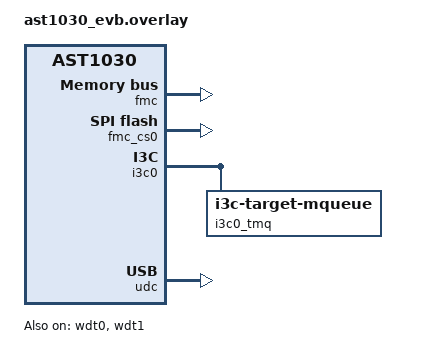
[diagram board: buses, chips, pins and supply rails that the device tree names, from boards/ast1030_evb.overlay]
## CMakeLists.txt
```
# Copyright (c) 2026 ASPEED Technology Inc.
# SPDX-License-Identifier: MIT

cmake_minimum_required(VERSION 3.20.0)

find_package(Zephyr REQUIRED HINTS $ENV{ZEPHYR_BASE})

project(mctp_eval)

target_sources(app PRIVATE src/main.c)
target_sources_ifdef(CONFIG_MCTP_EVAL_PLDM app PRIVATE src/pldm.c)
target_sources_ifdef(CONFIG_MCTP_EVAL_SPDM_BRIDGE app PRIVATE src/spdm_bridge.c)
```

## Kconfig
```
# Copyright (c) 2026 ASPEED Technology Inc.
# SPDX-License-Identifier: MIT

menu "MCTP eval"

config MCTP_EVAL_LOCAL_EID
	int "Local MCTP endpoint ID"
	range 0 254
	default 0
	help
	  EID the endpoint starts with. 0 (the null EID) leaves it unassigned
	  until the bus owner sets one with the Set Endpoint ID control
	  command. Otherwise 8..254: DSP0236 reserves 1-7, and the build
	  rejects them.

config MCTP_EVAL_USB
	bool "MCTP over USB endpoint"
	depends on MCTP_USB
	default y
	help
	  Also expose the endpoint over USB (DSP0283) on zephyr_udc0, with its
	  own libmctp instance.

if MCTP_EVAL_USB

config MCTP_EVAL_USB_VID
	hex "USB vendor ID"
	default 0x2fe3
	help
	  0x2fe3 is the Zephyr project's VID, for development and testing only.

config MCTP_EVAL_USB_PID
	hex "USB product ID"
	default 0x0100

endif # MCTP_EVAL_USB

endmenu

source "Kconfig.zephyr"
```

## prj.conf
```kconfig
# SYSTEM
# USB receive runs on the system workqueue: the binding's parser, libmctp, the
# app's rx callback and the reply's transmit, nested (1024 bytes was 82% used)
CONFIG_SYSTEM_WORKQUEUE_STACK_SIZE=2048
# i3c-target-mqueue and the I3C DMA receive pool allocate from the system heap;
# libmctp has its own heap (CONFIG_MCTP_HEAP_SIZE)
CONFIG_HEAP_MEM_POOL_SIZE=32768

# LOGGING
CONFIG_LOG=y
CONFIG_LOG_BUFFER_SIZE=8192

# SHELL
CONFIG_SHELL=y

# MCTP (libmctp); answers control requests such as Set Endpoint ID
CONFIG_MCTP=y
# Two libmctp instances (I3C, USB) share this heap
CONFIG_MCTP_HEAP_SIZE=8192
CONFIG_LIBMCTP_CONTROL_HANDLER_ENABLED=y

# PLDM (libpldm) control and firmware device responders
CONFIG_PLDM=y
CONFIG_PLDM_RESPONDER=y
```

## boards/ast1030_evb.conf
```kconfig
# I3C controller in target (secondary) mode
CONFIG_I3C=y
CONFIG_I3C_ASPEED=y
CONFIG_I3C_USE_IBI=y
CONFIG_I3C_IBI_WORKQUEUE=y

# I3C target message queue
CONFIG_I3C_TARGET=y
CONFIG_I3C_TARGET_MQUEUE=y
# i3c_target_mqueue uses crc8_ccitt() for the IBI PEC byte
CONFIG_CRC=y

# libmctp binding over the i3c0 target mqueue
CONFIG_MCTP_I3C_TARGET_MQUEUE=y

# USB device controller on the new USB device stack, for MCTP over USB.
# Builds udc_aspeed; the legacy usb_dc_aspeed driver is excluded by this.
CONFIG_USB_DEVICE_STACK_NEXT=y
# Warnings only: the info level logs every control transfer of enumeration
CONFIG_USBD_LOG_LEVEL_WRN=y
# UDC events off the system workqueue, where mctp_usb blocks on multi-packet tx
CONFIG_UDC_WORKQUEUE=y
CONFIG_UDC_WORKQUEUE_STACK_SIZE=1024
# libmctp binding for MCTP over USB (DSP0283)
CONFIG_MCTP_USB=y

# Boot SPI flash (fmc_cs0), where CONFIG_MCTP_EVAL_PLDM_FLASH programs updates
CONFIG_SPI=y
CONFIG_SPI_ASPEED=y
CONFIG_SPI_NOR=n
CONFIG_SPI_NOR_MULTI_DEV=y
CONFIG_FLASH=y
CONFIG_FLASH_PAGE_LAYOUT=y

# Reboot (shell "kernel reboot", sys_reboot()), a chip reset by watchdog wdt1;
# a cold reboot reloads the image from the boot flash
CONFIG_WATCHDOG=y
CONFIG_WDT_ASPEED=y
CONFIG_REBOOT=y
# PLDM updates go to the sink. The SoC boots fmc_cs0 offset 0 without
# authenticating it, so to program updates there and boot them, any MCTP peer
# being able to replace the firmware, set:
# CONFIG_MCTP_EVAL_PLDM_FLASH=y
# CONFIG_MCTP_EVAL_PLDM_REBOOT=y
```

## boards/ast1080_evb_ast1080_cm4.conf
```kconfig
# I3C controller in target (secondary) mode
CONFIG_I3C=y
CONFIG_I3C_USE_IBI=y
CONFIG_I3C_IBI_WORKQUEUE=y
CONFIG_I3C_MIPI_HCI=y
CONFIG_I3C_MIPI_HCI_PIO=y
CONFIG_I3C_MIPI_HCI_DMA=y
CONFIG_I3C_MIPI_HCI_TARGET=y
CONFIG_I3C_MIPI_HCI_ASPEED_VENDOR=y
# Target receive pool, 4-byte chunks: 1023 holds ~56 back-to-back 69-byte
# MCTP packets. The default 128 (512 bytes) overflows after ~8 packets of a
# multi-packet message at 12.5 MHz and corrupts them.
CONFIG_I3C_MIPI_HCI_DMA_IBI_CHUNKS=1023

# I3C target message queue
CONFIG_I3C_TARGET=y
CONFIG_I3C_TARGET_MQUEUE=y
# i3c_target_mqueue uses crc8_ccitt() for the IBI PEC byte
CONFIG_CRC=y

# libmctp binding over the i3c0 target mqueue
CONFIG_MCTP_I3C_TARGET_MQUEUE=y

# USB device controller (udc0) on the new USB device stack, for MCTP over USB.
# Builds udc_aspeed; the legacy usb_dc_aspeed driver is excluded by this.
CONFIG_USB_DEVICE_STACK_NEXT=y
# UDC events off the system workqueue, where mctp_usb blocks on multi-packet tx
CONFIG_UDC_WORKQUEUE=y
CONFIG_UDC_WORKQUEUE_STACK_SIZE=1024
# libmctp binding for MCTP over USB (DSP0283)
CONFIG_MCTP_USB=y
```

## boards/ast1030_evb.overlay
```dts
/*
 * Copyright (c) 2026 ASPEED Technology Inc.
 *
 * SPDX-License-Identifier: MIT
 *
 * AST1030 EVB: i3c0 as an MCTP-over-I3C target. The app finds the queue by
 * the i3c0_tmq label.
 */

&fmc {
	status = "okay";
};

/* Boot SPI flash: the image the SoC boots sits at offset 0 */
&fmc_cs0 {
	status = "okay";
	spi-max-buswidth = <4>;
	spi-max-frequency = <50000000>;

	partitions {
		compatible = "fixed-partitions";
		#address-cells = <1>;
		#size-cells = <1>;

		/*
		 * The 1 MiB flash in halves. The first is the board's
		 * zephyr,code-partition, which the SoC boots, and where PLDM
		 * firmware updates are programmed with
		 * CONFIG_MCTP_EVAL_PLDM_FLASH; an update downloads into the
		 * second and is copied into the first once it verifies. The
		 * image runs from SRAM, so it never outgrows its half.
		 */
		slot0_partition: pldm_update_partition: partition@0 {
			label = "image-0";
			reg = <0x0 0x80000>;
		};

		pldm_staging_partition: partition@80000 {
			label = "staging";
			reg = <0x80000 0x80000>;
		};
	};
};

/* sys_reboot() resets the chip through wdt1 */
&wdt0 {
	status = "okay";
};

&wdt1 {
	status = "okay";
};

&i3c0 {
	status = "okay";
	/* DSP0233: MCTP over I3C devices report DCR 0xCC */
	dcr = <0xcc>;
	secondary;

	/*
	 * The controller builds the PID itself: ASPEED MIPI ID 0x7ec, the SoC
	 * revision as part ID (0x8001 on A1) and the controller index as
	 * instance ID, so i3c0 reads 7ec80010000.
	 */
	i3c0_tmq: i3c-tmq@7ec80010000 {
		compatible = "i3c-target-mqueue";
		reg = <0x0 0x7ec 0x80010000>;
		/*
		 * Packets stay at the baseline 69 bytes (with PEC) unless
		 * CONFIG_MCTP_I3C_TMQ_LARGE_PACKETS lets them use all of this
		 */
		msg-size = <128>;
		/*
		 * Must be a power of two; one slot stays empty, so 32 holds 31
		 * packets: a whole CONFIG_MCTP_MAX_MESSAGE_SIZE (1024-byte)
		 * message in 64-byte-payload packets.
		 */
		num-of-msgs = <32>;
		mandatory-data-byte = <0xae>;
		/* MCTP pending-read IBI carries the MDB only; packet PEC is
		 * handled by the libmctp binding (CONFIG_MCTP_I3C_TMQ_PEC)
		 */
		ibi-append-pec = <0>;
		status = "okay";
	};
};

/*
 * USB device controller, for MCTP over USB on the new USB device stack
 * (udc_aspeed). The board labels it zephyr_udc0.
 */
&udc {
	status = "okay";
};
```

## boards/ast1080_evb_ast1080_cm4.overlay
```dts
/*
 * Copyright (c) 2026 ASPEED Technology Inc.
 *
 * SPDX-License-Identifier: MIT
 *
 * AST1080 EVB: i3c0 as an MCTP-over-I3C target. The app finds the queue by
 * the i3c0_tmq label.
 */

&i3c0 {
	status = "okay";
	/* DSP0233: MCTP over I3C devices report DCR 0xCC */
	dcr = <0xcc>;
	secondary;
	pid-extra-info = <0x000>;
	io-mode = "dma";

	i3c0_tmq: i3c-tmq@7ec80000000 {
		compatible = "i3c-target-mqueue";
		reg = <0x0 0x7ec 0x80000000>;
		/*
		 * Packets stay at the baseline 69 bytes (with PEC) unless
		 * CONFIG_MCTP_I3C_TMQ_LARGE_PACKETS lets them use all of this
		 */
		msg-size = <128>;
		/*
		 * Must be a power of two; one slot stays empty, so 32 holds 31
		 * packets: a whole CONFIG_MCTP_MAX_MESSAGE_SIZE (1024-byte)
		 * message in 64-byte-payload packets, even if the bus delivers it
		 * faster than the rx loop drains it.
		 */
		num-of-msgs = <32>;
		mandatory-data-byte = <0xae>;
		/* MCTP pending-read IBI carries the MDB only; packet PEC is
		 * handled by the libmctp binding (CONFIG_MCTP_I3C_TMQ_PEC)
		 */
		ibi-append-pec = <0>;
		status = "okay";
	};
};

/*
 * USB port C device controller, for MCTP over USB. Driven by the new USB
 * device stack (udc_aspeed); zephyr_udc0 is the label USB classes look up.
 */
zephyr_udc0: &udc0 {
	status = "okay";
};
```

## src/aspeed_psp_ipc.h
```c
/* Licensed under the Apache-2.0 license */

/*
 * PSP (Cortex-M4) <-> SS-MCU IPC protocol, for the PSP's C firmware.
 * Copy of caliptra-mcu-sw common/aspeed-ipc-protocol/include/aspeed_psp_ipc.h,
 * the C mirror of that crate's src/psp_spdm.rs, which holds the full
 * description of the descriptor and its rules.
 *
 * IPC bank 4 carries PSP -> SS-MCU, bank 5 SS-MCU -> PSP:
 *   IPI0: SPDM channel (REQUEST from the PSP, RESPONSE from the SS-MCU)
 *   IPI1: control (REQ_ACK and SYNC_ACK from the SS-MCU, RSP_ACK and SYNC
 *         from the PSP); each buffer has one owner, and an ACK hands it back
 *   IPI2: reserved for the callback channel, which needs a window of its own
 * Each IPI carries a 7-word descriptor; message bodies sit in a shared
 * window whose address each platform defines (on AST1080, the PSP's IPC
 * channel 0 window: requests in its TX half, responses in its RX half).
 */

#ifndef ASPEED_PSP_IPC_H_
#define ASPEED_PSP_IPC_H_

#define PSP_SPDM_IPI			0
#define PSP_SPDM_ACK_IPI		1
#define PSP_SPDM_CB_IPI			2

#define PSP_SPDM_SHM_SIZE		0x2000u
#define PSP_SPDM_REQ_OFFSET		0x0000u
#define PSP_SPDM_RSP_OFFSET		0x1000u
#define PSP_SPDM_BUF_SIZE		0x1000u

#define PSP_SPDM_MAX_MSG_SIZE		1024u

#define PSP_SPDM_OP_REQUEST		0x51445053u /* "SPDQ" */
#define PSP_SPDM_OP_RESPONSE		0x52445053u /* "SPDR" */
#define PSP_SPDM_OP_REQ_ACK		0x41445053u /* "SPDA" */
#define PSP_SPDM_OP_RSP_ACK		0x4b445053u /* "SPDK" */
#define PSP_SPDM_OP_SYNC		0x53445053u /* "SPDS" */
#define PSP_SPDM_OP_SYNC_ACK		0x59445053u /* "SPDY" */
#define PSP_SPDM_OP_CB_REQUEST		0x51435053u /* "SPCQ" */
#define PSP_SPDM_OP_CB_RESPONSE		0x52435053u /* "SPCR" */

#define PSP_SPDM_WORD_OP		0
#define PSP_SPDM_WORD_SEQ		1
#define PSP_SPDM_WORD_OFFSET		2
#define PSP_SPDM_WORD_LEN		3
#define PSP_SPDM_WORD_STATUS		4
#define PSP_SPDM_WORD_VERSION		5
#define PSP_SPDM_DESC_WORDS		7

#define PSP_SPDM_PROTO_VERSION		2u

#define PSP_SPDM_STATUS_OK		0u
#define PSP_SPDM_STATUS_REJECTED	1u
#define PSP_SPDM_STATUS_TOO_LARGE	2u
#define PSP_SPDM_STATUS_VERSION		3u

#endif /* ASPEED_PSP_IPC_H_ */
```

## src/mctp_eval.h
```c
/*
 * Copyright (c) 2026 ASPEED Technology Inc.
 *
 * SPDX-License-Identifier: MIT
 */

#ifndef MCTP_EVAL_H_
#define MCTP_EVAL_H_

#include <stdbool.h>
#include <stddef.h>
#include <stdint.h>
#include <zephyr/kernel.h>
#include <libmctp.h>

#define MCTP_MSG_TYPE_MASK	0x7f
#define MCTP_MSG_TYPE_PLDM	0x01

/*
 * One transport and its libmctp instance, NULL if the bus failed to start.
 * libmctp is not thread-safe: every call into a bus's mctp is made with its
 * lock held.
 */
struct eval_bus {
	const char *name;
	struct mctp *mctp;
	struct k_mutex *lock;
	/* The binding's count of packets it dropped, updated under lock */
	const uint32_t *tx_errors;
};

/* Next message tag for a request we originate */
uint8_t mctp_eval_next_tag(void);

#ifdef CONFIG_MCTP_EVAL_PLDM
int mctp_eval_pldm_init(void);
/* Advertise PLDM in the bus's Get Message Type Support response */
int mctp_eval_pldm_bus_init(struct eval_bus *bus);
/*
 * Called from the bus rx callback with the bus lock held; true if the
 * message was PLDM (and has been handled).
 */
bool mctp_eval_pldm_rx(struct eval_bus *bus, uint8_t src_eid, bool tag_owner, uint8_t msg_tag,
		       const uint8_t *msg, size_t len);
#endif

#endif /* MCTP_EVAL_H_ */
```

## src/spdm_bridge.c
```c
/*
 * Copyright (c) 2026 ASPEED Technology Inc.
 *
 * SPDX-License-Identifier: MIT
 *
 * SPDM bridge to the SSMCU: SPDM requests that arrive over MCTP on any bus
 * (message type 0x05, or 0x06 for SPDM Secured Messages; MCTP type byte
 * included) are forwarded to the SSMCU's SPDM responder over the PSP IPC
 * channel (aspeed_psp_ipc.h), and its response goes back on the bus, to the
 * EID and with the tag the request came with.
 *
 * The rx callback only queues a request (it runs with the bus lock held);
 * one thread forwards them one at a time, as the channel carries a single
 * request in flight. Bodies sit in the IPC driver's window for the SPDM IPI
 * (the board's shmem_ch0): the request is written to its TX half before the
 * doorbell rings, and the response read from its RX half after its doorbell.
 * The driver flushes what it writes; the RX half is cacheable on this core,
 * so the D-cache is invalidated over the response before it is read.
 *
 * Each half has one owner at a time (aspeed_psp_ipc.h): REQUEST hands the
 * request buffer to the SSMCU, which hands it back with REQ_ACK once it has
 * copied the request out, and a RESPONSE with a message hands the response
 * buffer over until RSP_ACK, sent once it is copied out here, or at once
 * for a late response. A SYNC starts the channel; a missing ACK or a
 * timeout marks it unsynced, and the next request SYNCs first, so a buffer
 * is never written while the other side may still read it.
 *
 * "spdm send" in the shell forwards a request typed in by hand, for testing
 * the SSMCU side without a requester; "spdm stats" shows the counters.
 */

#include <stdlib.h>
#include <string.h>
#include <zephyr/cache.h>
#include <zephyr/drivers/ipm.h>
#include <zephyr/drivers/ipm_ast.h>
#include <zephyr/kernel.h>
#include <zephyr/logging/log.h>
#include <zephyr/shell/shell.h>
#include <zephyr/sys/barrier.h>
#include <zephyr/sys/util.h>
#include "aspeed_psp_ipc.h"
#include "mctp_eval.h"

LOG_MODULE_REGISTER(mctp_eval_spdm, LOG_LEVEL_INF);

#define MCTP_MSG_TYPE_SPDM		0x05
#define MCTP_MSG_TYPE_SECURED_SPDM	0x06
#define SPDM_QUEUE_DEPTH		4
/* Descriptors the ISR can hold before the bridge thread reads them */
#define SPDM_EVT_QUEUE_DEPTH		8
#define SPDM_THREAD_STACK_SIZE		2048
#define SPDM_THREAD_PRIORITY		K_LOWEST_APPLICATION_THREAD_PRIO
#define SPDM_TIMEOUT			K_MSEC(CONFIG_MCTP_EVAL_SPDM_TIMEOUT_MS)
#define SPDM_ACK_TIMEOUT		K_MSEC(CONFIG_MCTP_EVAL_SPDM_ACK_TIMEOUT_MS)
#define SPDM_SYNC_TRIES			3
/* The SSMCU acknowledges a doorbell within its interrupt handler */
#define SPDM_SEND_RETRIES		10
#define SPDM_SHELL_MAX_LEN		64

/* The SSMCU expects the request buffer right before the response buffer */
BUILD_ASSERT(PSP_SPDM_RSP_OFFSET == PSP_SPDM_REQ_OFFSET + PSP_SPDM_BUF_SIZE);
BUILD_ASSERT(CONFIG_MCTP_MAX_MESSAGE_SIZE >= PSP_SPDM_MAX_MSG_SIZE,
	     "an SPDM response must fit one MCTP message");

static const struct device *const ipc = DEVICE_DT_GET(DT_NODELABEL(ipc0_cm4_ssmcu));

struct spdm_req {
	struct eval_bus *bus;
	uint8_t eid;
	uint8_t tag;
	uint16_t len;
	uint8_t msg[PSP_SPDM_MAX_MSG_SIZE];
};

K_MSGQ_DEFINE(spdm_queue, sizeof(struct spdm_req), SPDM_QUEUE_DEPTH, 4);

/* One request in flight on the channel, from the thread or the shell */
static K_MUTEX_DEFINE(forward_lock);
static uint32_t seq;
/* The SSMCU answered our last SYNC; forward_lock guards it */
static bool synced;
/*
 * Shell fault injection: act as if the SSMCU never answered the next request
 * (REQ_ACK and RESPONSE lost), or the next RSP_ACK were lost
 */
static bool lose_req_ack, lose_rsp_ack;

/*
 * Descriptors from the SSMCU on both IPIs, queued whole by the ISR in the
 * order it takes them: a late response to an abandoned request can't
 * overwrite the one being read, and is dropped on its own.
 */
K_MSGQ_DEFINE(evt_queue, sizeof(uint32_t[PSP_SPDM_DESC_WORDS]), SPDM_EVT_QUEUE_DEPTH, 4);

/*
 * Staging for the rx callbacks, which k_msgq_put() copies from: two buses'
 * callbacks can run at once, so rx_lock guards it.
 */
static K_MUTEX_DEFINE(rx_lock);
static struct spdm_req rx_staging;
static uint8_t thread_rsp[PSP_SPDM_MAX_MSG_SIZE];

static struct {
	uint32_t queued;
	uint32_t dropped;
	uint32_t answered;
	uint32_t rejected;
	uint32_t timeouts;
	uint32_t stale;
	uint32_t ack_timeouts;
	uint32_t syncs;
	uint32_t sync_failures;
	uint32_t evt_overflows;
	uint32_t tx_errors;
	uint32_t ack_max_us;
	uint32_t rtt_max_us;
	uint64_t rtt_sum_us;
} stats;

/* IPM ISR: the descriptor is copied before the driver acknowledges it */
static void spdm_ipc_cb(const struct device *dev, void *user_data, uint32_t id,
			volatile void *data)
{
	uint32_t desc[PSP_SPDM_DESC_WORDS];

	for (int i = 0; i < PSP_SPDM_DESC_WORDS; i++) {
		desc[i] = ((volatile uint32_t *)data)[i];
	}
	if (k_msgq_put(&evt_queue, desc, K_NO_WAIT)) {
		stats.evt_overflows++;
	}
}

/* Sends a descriptor; the SSMCU takes one within its interrupt handler */
static int spdm_send_desc(uint32_t ipi, const uint32_t *desc)
{
	int ret;

	for (int i = 0; i < SPDM_SEND_RETRIES; i++) {
		ret = ipm_send(ipc, 0, ipi, desc, PSP_SPDM_DESC_WORDS * sizeof(uint32_t));
		if (ret != -EBUSY) {
			break;
		}
		k_msleep(1);
	}
	if (ret) {
		stats.tx_errors++;
	}
	return ret;
}

/* Hands the response buffer back to the SSMCU */
static void spdm_rsp_ack(uint32_t rsp_seq)
{
	uint32_t desc[PSP_SPDM_DESC_WORDS] = {PSP_SPDM_OP_RSP_ACK, rsp_seq};

	if (lose_rsp_ack) {
		lose_rsp_ack = false;
		synced = false;
		return;
	}
	/* Until it has the buffer back, the SSMCU holds its responses */
	if (spdm_send_desc(PSP_SPDM_ACK_IPI, desc)) {
		synced = false;
	}
}

/* An event that isn't the one waited for: a late response is acknowledged */
static void spdm_stale(const uint32_t *desc)
{
	if (desc[PSP_SPDM_WORD_OP] != PSP_SPDM_OP_RESPONSE) {
		return;
	}
	stats.stale++;
	if (desc[PSP_SPDM_WORD_LEN]) {
		spdm_rsp_ack(desc[PSP_SPDM_WORD_SEQ]);
	}
}

/*
 * (Re)starts the channel: once the SSMCU answers, it holds no request and
 * no response, and reads nothing from the request buffer any more.
 */
static int spdm_sync(void)
{
	static bool version_logged;
	uint32_t desc[PSP_SPDM_DESC_WORDS] = {PSP_SPDM_OP_SYNC};
	uint32_t evt[PSP_SPDM_DESC_WORDS];
	int ret;

	desc[PSP_SPDM_WORD_VERSION] = PSP_SPDM_PROTO_VERSION;
	for (int i = 0; i < SPDM_SYNC_TRIES; i++) {
		k_timepoint_t end = sys_timepoint_calc(SPDM_ACK_TIMEOUT);

		desc[PSP_SPDM_WORD_SEQ] = ++seq;
		ret = spdm_send_desc(PSP_SPDM_ACK_IPI, desc);
		if (ret) {
			break;
		}
		while (!k_msgq_get(&evt_queue, evt, sys_timepoint_timeout(end))) {
			if (evt[PSP_SPDM_WORD_OP] != PSP_SPDM_OP_SYNC_ACK ||
			    evt[PSP_SPDM_WORD_SEQ] != seq) {
				spdm_stale(evt);
				continue;
			}
			if (evt[PSP_SPDM_WORD_STATUS] != PSP_SPDM_STATUS_OK) {
				if (!version_logged) {
					LOG_ERR("spdm: SSMCU doesn't take protocol version %u "
						"(status %u)", PSP_SPDM_PROTO_VERSION,
						evt[PSP_SPDM_WORD_STATUS]);
					version_logged = true;
				}
				stats.sync_failures++;
				return -EPROTONOSUPPORT;
			}
			stats.syncs++;
			synced = true;
			return 0;
		}
	}

	stats.sync_failures++;
	return ret ? ret : -ETIMEDOUT;
}

/*
 * Forwards one request and waits for its response. Returns 0 and the
 * response status, or a negative errno when no response came.
 */
static int spdm_forward(const uint8_t *msg, size_t len, uint8_t *rsp, size_t *rsp_len,
			uint32_t *status)
{
	uint32_t desc[PSP_SPDM_DESC_WORDS] = {0};
	uint32_t rsp_desc[PSP_SPDM_DESC_WORDS];
	k_timepoint_t ack_end, rsp_end;
	uint32_t start, rtt;
	bool acked = false, deaf;
	int ret;

	if (len == 0 || len > PSP_SPDM_MAX_MSG_SIZE) {
		return -EMSGSIZE;
	}

	k_mutex_lock(&forward_lock, K_FOREVER);

	if (!synced) {
		ret = spdm_sync();
		if (ret) {
			goto out;
		}
	}

	/* Late answers to abandoned requests: hand their buffers back */
	while (!k_msgq_get(&evt_queue, rsp_desc, K_NO_WAIT)) {
		spdm_stale(rsp_desc);
	}

	/* The request buffer is ours: the SSMCU acknowledged the last request */
	ret = ast_ipm_shmem_write(ipc, PSP_SPDM_IPI, 0, msg, len);
	if (ret < 0) {
		stats.tx_errors++;
		goto out;
	}
	barrier_dsync_fence_full();

	desc[PSP_SPDM_WORD_OP] = PSP_SPDM_OP_REQUEST;
	desc[PSP_SPDM_WORD_SEQ] = ++seq;
	desc[PSP_SPDM_WORD_OFFSET] = PSP_SPDM_REQ_OFFSET;
	desc[PSP_SPDM_WORD_LEN] = len;

	deaf = lose_req_ack;
	lose_req_ack = false;

	start = k_cycle_get_32();
	ack_end = sys_timepoint_calc(SPDM_ACK_TIMEOUT);
	rsp_end = sys_timepoint_calc(SPDM_TIMEOUT);
	ret = spdm_send_desc(PSP_SPDM_IPI, desc);
	if (ret) {
		goto out;
	}

	/*
	 * REQ_ACK, then the RESPONSE, which acknowledges the request too: the
	 * ISR may take the two IPIs in either order. Anything else, with an
	 * older number, answers an abandoned request.
	 */
	while (true) {
		ret = k_msgq_get(&evt_queue, rsp_desc,
				 sys_timepoint_timeout(acked ? rsp_end : ack_end));
		if (ret) {
			/* SYNC before the next request, whichever buffer is out */
			synced = false;
			if (acked) {
				stats.timeouts++;
			} else {
				stats.ack_timeouts++;
			}
			ret = -ETIMEDOUT;
			goto out;
		}
		if (rsp_desc[PSP_SPDM_WORD_SEQ] != seq) {
			spdm_stale(rsp_desc);
			continue;
		}
		if (deaf) {
			continue;
		}
		if (rsp_desc[PSP_SPDM_WORD_OP] == PSP_SPDM_OP_REQ_ACK) {
			acked = true;
			stats.ack_max_us = MAX(stats.ack_max_us,
					       k_cyc_to_us_near32(k_cycle_get_32() - start));
			if (rsp_desc[PSP_SPDM_WORD_STATUS] != PSP_SPDM_STATUS_OK) {
				/* Refused; no RESPONSE follows */
				break;
			}
			continue;
		}
		if (rsp_desc[PSP_SPDM_WORD_OP] == PSP_SPDM_OP_RESPONSE) {
			break;
		}
	}

	*status = rsp_desc[PSP_SPDM_WORD_STATUS];
	*rsp_len = 0;
	if (rsp_desc[PSP_SPDM_WORD_OP] == PSP_SPDM_OP_RESPONSE &&
	    *status == PSP_SPDM_STATUS_OK) {
		size_t n = rsp_desc[PSP_SPDM_WORD_LEN];
		void *body;

		if (rsp_desc[PSP_SPDM_WORD_OFFSET] != PSP_SPDM_RSP_OFFSET ||
		    n > PSP_SPDM_MAX_MSG_SIZE ||
		    ast_ipm_shmem_read(ipc, PSP_SPDM_IPI, 0, &body, n) < 0) {
			ret = -EBADMSG;
		} else {
			sys_cache_data_invd_range(body, ROUND_UP(n, CONFIG_DCACHE_LINE_SIZE));
			memcpy(rsp, body, n);
			*rsp_len = n;
			stats.answered++;
		}
		if (n) {
			spdm_rsp_ack(seq);
		}
		if (ret) {
			goto out;
		}
	} else {
		stats.rejected++;
	}

	rtt = k_cyc_to_us_near32(k_cycle_get_32() - start);
	stats.rtt_max_us = MAX(stats.rtt_max_us, rtt);
	stats.rtt_sum_us += rtt;

out:
	k_mutex_unlock(&forward_lock);
	return ret;
}

bool mctp_eval_spdm_rx(struct eval_bus *bus, uint8_t src_eid, bool tag_owner, uint8_t msg_tag,
		       const uint8_t *msg, size_t len)
{
	struct spdm_req *req = &rx_staging;

	if (len < 1 || ((msg[0] & MCTP_MSG_TYPE_MASK) != MCTP_MSG_TYPE_SPDM &&
			 (msg[0] & MCTP_MSG_TYPE_MASK) != MCTP_MSG_TYPE_SECURED_SPDM)) {
		return false;
	}

	/* We send no SPDM requests, so nothing answers us */
	if (!tag_owner) {
		return true;
	}

	if (len > PSP_SPDM_MAX_MSG_SIZE) {
		stats.dropped++;
		return true;
	}

	k_mutex_lock(&rx_lock, K_FOREVER);
	req->bus = bus;
	req->eid = src_eid;
	req->tag = msg_tag;
	req->len = len;
	memcpy(req->msg, msg, len);
	if (k_msgq_put(&spdm_queue, req, K_NO_WAIT)) {
		stats.dropped++;
	} else {
		stats.queued++;
	}
	k_mutex_unlock(&rx_lock);

	return true;
}

static void spdm_bridge_thread(void *p1, void *p2, void *p3)
{
	static struct spdm_req req;

	ARG_UNUSED(p1);
	ARG_UNUSED(p2);
	ARG_UNUSED(p3);

	/* The SSMCU may not be up yet; the first request SYNCs again then */
	k_mutex_lock(&forward_lock, K_FOREVER);
	if (spdm_sync() == 0) {
		LOG_INF("spdm: SSMCU channel synced");
	}
	k_mutex_unlock(&forward_lock);

	while (true) {
		size_t rsp_len;
		uint32_t status;
		int ret;

		k_msgq_get(&spdm_queue, &req, K_FOREVER);

		ret = spdm_forward(req.msg, req.len, thread_rsp, &rsp_len, &status);
		if (ret) {
			LOG_WRN("spdm: request from eid 0x%02x not answered (%d)", req.eid, ret);
			continue;
		}
		if (status != PSP_SPDM_STATUS_OK) {
			LOG_WRN("spdm: SSMCU rejected request from eid 0x%02x (status %u)",
				req.eid, status);
			continue;
		}

		k_mutex_lock(req.bus->lock, K_FOREVER);
		ret = mctp_message_tx(req.bus->mctp, req.eid, false, req.tag, thread_rsp, rsp_len);
		k_mutex_unlock(req.bus->lock);
		if (ret) {
			stats.tx_errors++;
			LOG_ERR("spdm: %s response to eid 0x%02x failed (%d)", req.bus->name, req.eid,
				ret);
		}
	}
}

K_THREAD_DEFINE(spdm_bridge_tid, SPDM_THREAD_STACK_SIZE, spdm_bridge_thread, NULL, NULL, NULL,
		SPDM_THREAD_PRIORITY, 0, SYS_FOREVER_MS);

int mctp_eval_spdm_init(void)
{
	if (!device_is_ready(ipc)) {
		LOG_ERR("spdm: %s not ready", ipc->name);
		return -ENODEV;
	}

	/* Each half of the window holds one buffer */
	if (ast_ipm_max_tx_shmem_size(ipc, PSP_SPDM_IPI) < PSP_SPDM_BUF_SIZE ||
	    ast_ipm_max_rx_shmem_size(ipc, PSP_SPDM_IPI) < PSP_SPDM_BUF_SIZE) {
		LOG_ERR("spdm: %s has no %u-byte window on IPI%d", ipc->name,
			PSP_SPDM_BUF_SIZE, PSP_SPDM_IPI);
		return -ENOMEM;
	}

	ipm_register_id_callback(ipc, PSP_SPDM_IPI, spdm_ipc_cb, NULL);
	ipm_register_id_callback(ipc, PSP_SPDM_ACK_IPI, spdm_ipc_cb, NULL);
	ipm_set_id_enabled(ipc, PSP_SPDM_IPI, true);
	ipm_set_id_enabled(ipc, PSP_SPDM_ACK_IPI, true);
	k_thread_start(spdm_bridge_tid);
	LOG_INF("spdm: bridge to the SSMCU on %s IPI%d", ipc->name, PSP_SPDM_IPI);

	return 0;
}

int mctp_eval_spdm_bus_init(struct eval_bus *bus)
{
	int ret = mctp_control_add_type(bus->mctp, MCTP_MSG_TYPE_SPDM);

	if (ret) {
		return ret;
	}
	return mctp_control_add_type(bus->mctp, MCTP_MSG_TYPE_SECURED_SPDM);
}

/* spdm send <byte> ...: an SPDM message; the MCTP type byte is added */
static int cmd_spdm_send(const struct shell *sh, size_t argc, char **argv)
{
	static uint8_t req[1 + SPDM_SHELL_MAX_LEN];
	static uint8_t rsp[PSP_SPDM_MAX_MSG_SIZE];
	size_t len = argc - 1, rsp_len;
	uint32_t status, start;
	int ret;

	if (len > SPDM_SHELL_MAX_LEN) {
		shell_error(sh, "at most %d bytes", SPDM_SHELL_MAX_LEN);
		return -EINVAL;
	}

	req[0] = MCTP_MSG_TYPE_SPDM;
	for (size_t i = 0; i < len; i++) {
		req[1 + i] = strtoul(argv[1 + i], NULL, 16);
	}

	start = k_cycle_get_32();
	ret = spdm_forward(req, len + 1, rsp, &rsp_len, &status);
	if (ret) {
		shell_error(sh, "no response (%d)", ret);
		return ret;
	}

	shell_print(sh, "status %u, %zu bytes in %u us", status, rsp_len,
		    k_cyc_to_us_near32(k_cycle_get_32() - start));
	if (rsp_len) {
		shell_hexdump(sh, rsp, rsp_len);
	}

	return 0;
}

static int cmd_spdm_stats(const struct shell *sh, size_t argc, char **argv)
{
	uint32_t done = stats.answered + stats.rejected;

	if (argc > 1 && !strcmp(argv[1], "reset")) {
		memset(&stats, 0, sizeof(stats));
		return 0;
	}

	shell_print(sh, "queued %u, dropped %u", stats.queued, stats.dropped);
	shell_print(sh, "answered %u, rejected %u, timeouts %u, stale %u, tx errors %u",
		    stats.answered, stats.rejected, stats.timeouts, stats.stale, stats.tx_errors);
	shell_print(sh, "channel %s: syncs %u, sync failures %u, ack timeouts %u, "
		    "event overflows %u, ack max %u us", synced ? "synced" : "unsynced",
		    stats.syncs, stats.sync_failures, stats.ack_timeouts, stats.evt_overflows,
		    stats.ack_max_us);
	if (done) {
		shell_print(sh, "SSMCU round trip: avg %u us, max %u us",
			    (uint32_t)(stats.rtt_sum_us / done), stats.rtt_max_us);
	}

	return 0;
}

/* spdm fault req-ack|rsp-ack: see lose_req_ack */
static int cmd_spdm_fault(const struct shell *sh, size_t argc, char **argv)
{
	k_mutex_lock(&forward_lock, K_FOREVER);
	if (!strcmp(argv[1], "req-ack")) {
		lose_req_ack = true;
	} else if (!strcmp(argv[1], "rsp-ack")) {
		lose_rsp_ack = true;
	} else {
		k_mutex_unlock(&forward_lock);
		shell_error(sh, "req-ack or rsp-ack");
		return -EINVAL;
	}
	k_mutex_unlock(&forward_lock);

	return 0;
}

SHELL_STATIC_SUBCMD_SET_CREATE(sub_spdm,
	SHELL_CMD_ARG(send, NULL, "Forward an SPDM message to the SSMCU: send <hex byte> ...",
		      cmd_spdm_send, 2, SPDM_SHELL_MAX_LEN - 1),
	SHELL_CMD_ARG(stats, NULL, "Bridge counters: stats [reset]", cmd_spdm_stats, 1, 1),
	SHELL_CMD_ARG(fault, NULL, "Lose the SSMCU's next REQ_ACK and RESPONSE, or our next "
		      "RSP_ACK: fault req-ack|rsp-ack",
		      cmd_spdm_fault, 2, 0),
	SHELL_SUBCMD_SET_END
);

SHELL_CMD_REGISTER(spdm, &sub_spdm, "SPDM bridge to the SSMCU", NULL);
```
